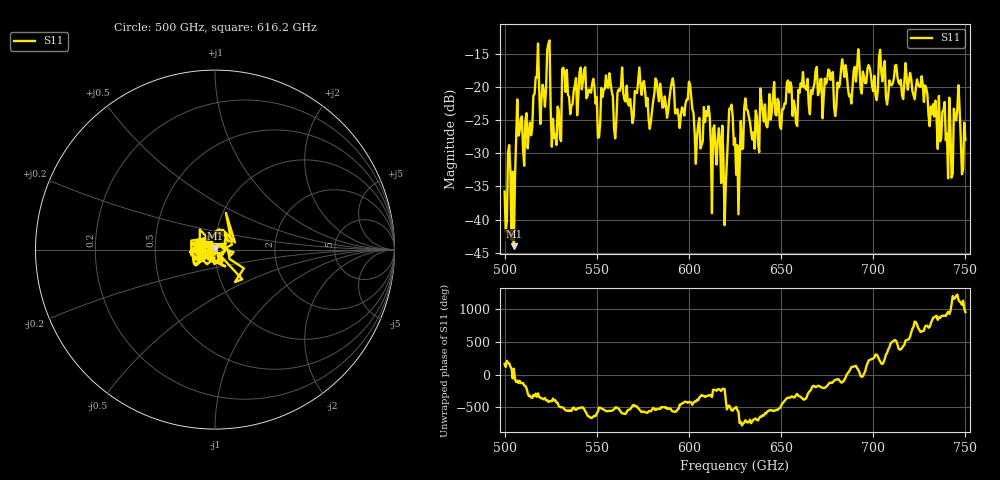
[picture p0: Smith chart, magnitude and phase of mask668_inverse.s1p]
!Created with skrf (http://scikit-rf.org).
# GHz S MA R 50.0
!freq magS11 angS11
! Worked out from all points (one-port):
!   401 points, 500 GHz to 750 GHz, reference 50 ohm
!   lowest |S11| = -44.0 dB at 505 GHz (marker M1), VSWR 1.01, Z = 50 + j0.63 ohm
!   |S11| at or under -10 dB: start of sweep to end of sweep
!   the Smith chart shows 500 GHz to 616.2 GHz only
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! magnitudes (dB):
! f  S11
! 500 GHz  -35.8
! 505 GHz  -44.0
! 507.5 GHz  -27.3
! 513.8 GHz  -25.4
! 516.9 GHz  -18.5
! 520.6 GHz  -19.6
! 523.8 GHz  -13.5
! 526.9 GHz  -27.7
! 531.2 GHz  -17.3
! 542.5 GHz  -19.1
! 550.6 GHz  -27.6
! 562.5 GHz  -20.6
! 593.8 GHz  -23.3
! 609.4 GHz  -23.6
! 618.8 GHz  -31.0
! 622.5 GHz  -23.2
! 625 GHz  -27.7
! 628.1 GHz  -25.1
! 631.2 GHz  -23.4
! 636.9 GHz  -24.5
! 656.2 GHz  -24.3
! 676.9 GHz  -18.9
! 680 GHz  -22.8
! 683.8 GHz  -16.9
! 687.5 GHz  -21.1
! 691.2 GHz  -17.0
! 718.8 GHz  -20.4
! 750 GHz  -28.0
